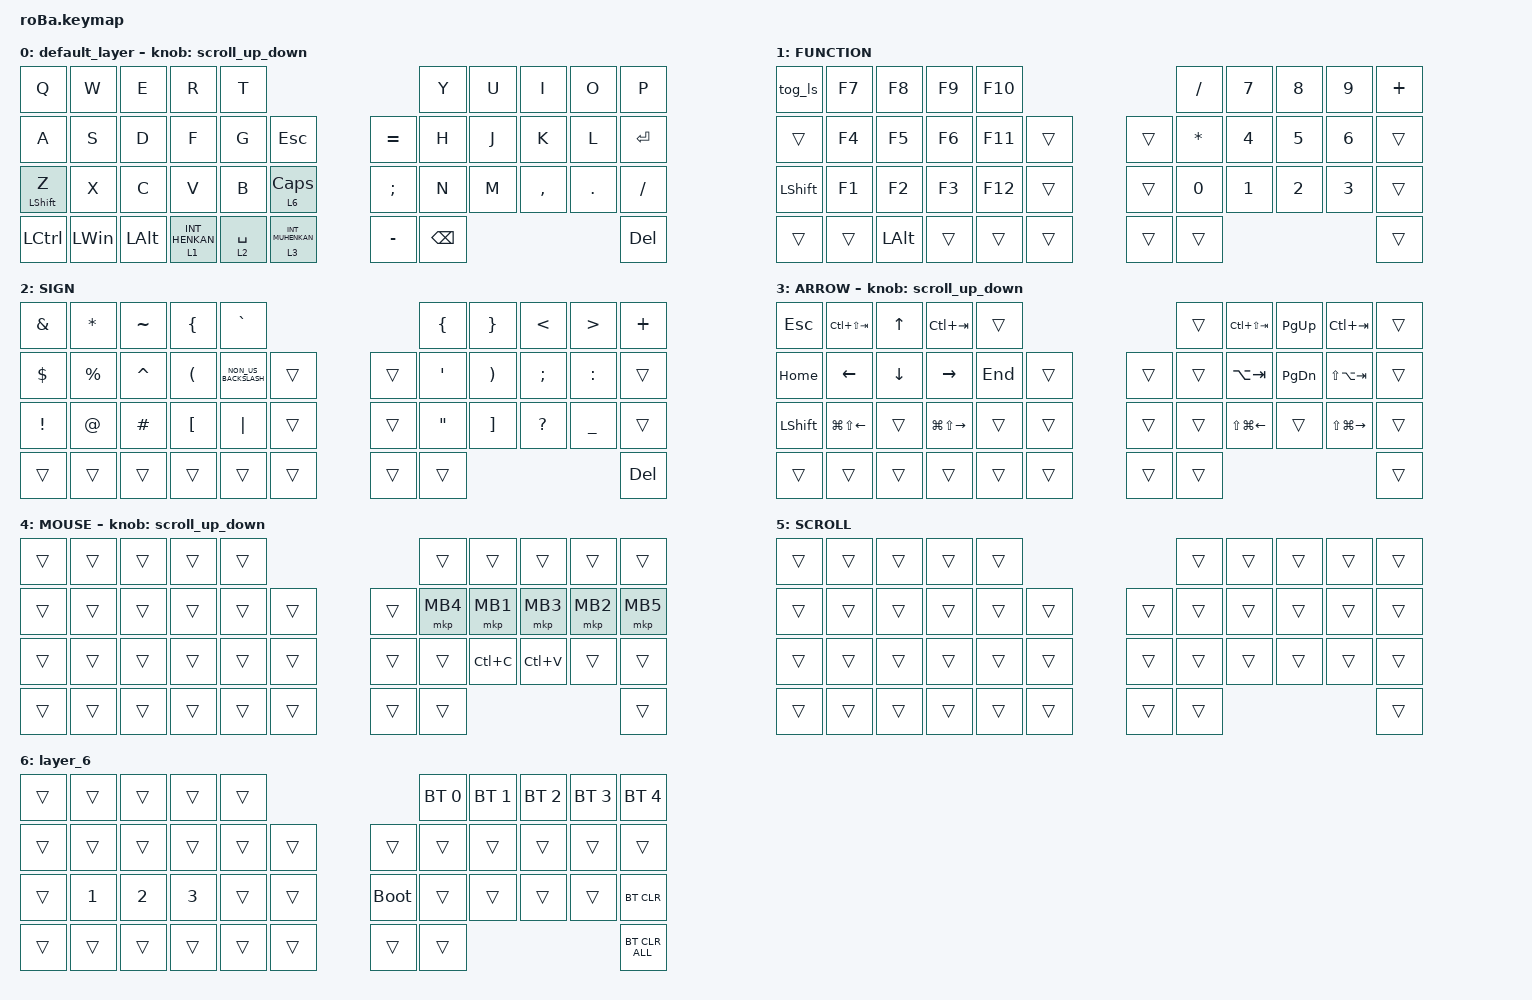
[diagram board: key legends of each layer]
#include <behaviors.dtsi>
#include <dt-bindings/zmk/bt.h>
#include <dt-bindings/zmk/keys.h>
#include <dt-bindings/zmk/pointing.h>
#include <layout_shift.dtsi>
#include <layout_shift_kp_override.dtsi>

#define ZMK_POINTING_DEFAULT_SCRL_VAL 100

&mt {
    flavor = "balanced";
    quick-tap-ms = <0>;
};

&trackball {
    automouse-layer = <4>;
    scroll-layers = <5>;

    arrows {
        layers = <3>;
        bindings =
            <&kp RIGHT_ARROW>,
            <&kp LEFT_ARROW>,
            <&kp UP_ARROW>,
            <&kp DOWN_ARROW>;

        tick = <10>;
        wait-ms = <5>;
        tap-ms = <5>;
    };
};

/ {
    combos {
        compatible = "zmk,combos";

        S_tab {
            bindings = <&kp LS(TAB)>;
            key-positions = <11 12>;
        };

        tab {
            bindings = <&kp TAB>;
            key-positions = <12 13>;
        };

        muhennkann {
            bindings = <&to_layer_0 INT_MUHENKAN>;
            key-positions = <11 10>;
        };

        double_quotation {
            bindings = <&kp DOUBLE_QUOTES>;
            key-positions = <20 21>;
        };

        paste {
            bindings = <&kp LC(V)>;
            key-positions = <24 25>;
        };

        copy {
            bindings = <&kp LC(C)>;
            key-positions = <23 24>;
        };

        geave {
            bindings = <&kp GRAVE>;
            key-positions = <37 38>;
        };
    };

    macros {
        to_layer_0: to_layer_0 {
            compatible = "zmk,behavior-macro-one-param";
            #binding-cells = <1>;
            bindings = <&to 0 &macro_param_1to1 &kp MACRO_PLACEHOLDER>;
            label = "TO_LAYER_0";
        };
    };

    behaviors {
        lt_to_layer_0: lt_to_layer_0 {
            compatible = "zmk,behavior-hold-tap";
            label = "LAYER_TAP_TO_0";
            bindings = <&mo>, <&to_layer_0>;

            #binding-cells = <2>;
            tapping-term-ms = <200>;
        };

        scroll_up_down: behavior_sensor_rotate_mouse_wheel_up_down {
            compatible = "zmk,behavior-sensor-rotate";
            #sensor-binding-cells = <0>;
            bindings = <&msc SCRL_DOWN>, <&msc SCRL_UP>;

            // 追加: スクロールのタップ時間を設定 (20ms)

            tap-ms = <20>;
        };
    };

    keymap {
        compatible = "zmk,keymap";

        default_layer {
            bindings = <
&kp Q         &kp W         &kp E         &kp R                        &kp T                                                                     &kp Y          &kp U  &kp I      &kp O    &kp P
&kp A         &kp S         &kp D         &kp F                        &kp G                   &kp ESCAPE                         &kp EQUAL      &kp H          &kp J  &kp K      &kp L    &kp ENTER
&mt LSHIFT Z  &kp X         &kp C         &kp V                        &kp B                   &lt_to_layer_0 6 CAPSLOCK          &kp SEMICOLON  &kp N          &kp M  &kp COMMA  &kp DOT  &kp SLASH
&kp LCTRL     &kp LEFT_WIN  &kp LEFT_ALT  &lt_to_layer_0 1 INT_HENKAN  &lt_to_layer_0 2 SPACE  &lt_to_layer_0 3 INT_MUHENKAN      &kp MINUS      &kp BACKSPACE                             &kp DEL
            >;

            sensor-bindings = <&scroll_up_down>;
        };

        FUNCTION {
            bindings = <
&tog_ls         &kp F7  &kp F8        &kp F9  &kp F10                      &kp SLASH     &kp NUMBER_7  &kp NUMBER_8  &kp NUMBER_9  &kp PLUS
&trans          &kp F4  &kp F5        &kp F6  &kp F11  &trans      &trans  &kp ASTERISK  &kp NUMBER_4  &kp NUMBER_5  &kp NUMBER_6  &trans
&kp LEFT_SHIFT  &kp F1  &kp F2        &kp F3  &kp F12  &trans      &trans  &kp N0        &kp NUMBER_1  &kp NUMBER_2  &kp NUMBER_3  &trans
&trans          &trans  &kp LEFT_ALT  &trans  &trans   &trans      &trans  &trans                                                  &trans
            >;
        };

        SIGN {
            bindings = <
&kp AMPERSAND    &kp ASTERISK  &kp TILDE  &kp LEFT_BRACE        &kp GRAVE                                 &kp LEFT_BRACE     &kp RIGHT_BRACE        &kp LESS_THAN  &kp GREATER_THAN  &kp PLUS
&kp DOLLAR       &kp PERCENT   &kp CARET  &kp LEFT_PARENTHESIS  &kp NON_US_BACKSLASH  &trans      &trans  &kp SINGLE_QUOTE   &kp RIGHT_PARENTHESIS  &kp SEMICOLON  &kp COLON         &trans
&kp EXCLAMATION  &kp AT_SIGN   &kp HASH   &kp LEFT_BRACKET      &kp PIPE              &trans      &trans  &kp DOUBLE_QUOTES  &kp RIGHT_BRACKET      &kp QUESTION   &kp UNDERSCORE    &trans
&trans           &trans        &trans     &trans                &trans                &trans      &trans  &trans                                                                     &kp DELETE
            >;
        };

        ARROW {
            bindings = <
&kp ESCAPE      &kp LC(LS(TAB))         &kp UP_ARROW    &kp LC(TAB)              &trans                       &trans  &kp LC(LS(TAB))   &kp PAGE_UP    &kp LC(TAB)              &trans
&kp HOME        &kp LEFT_ARROW          &kp DOWN_ARROW  &kp RIGHT_ARROW          &kp END  &trans      &trans  &trans  &kp LA(TAB)       &kp PAGE_DOWN  &kp LS(LA(TAB))          &trans
&kp LEFT_SHIFT  &kp LG(LS(LEFT_ARROW))  &trans          &kp LG(LS(RIGHT_ARROW))  &trans   &trans      &trans  &trans  &kp LS(LG(LEFT))  &trans         &kp LS(LG(RIGHT_ARROW))  &trans
&trans          &trans                  &trans          &trans                   &trans   &trans      &trans  &trans                                                            &trans
            >;

            sensor-bindings = <&scroll_up_down>;
        };

        MOUSE {
            bindings = <
&trans  &trans  &trans  &trans  &trans                      &trans    &trans     &trans     &trans    &trans
&trans  &trans  &trans  &trans  &trans  &trans      &trans  &mkp MB4  &mkp MB1   &mkp MB3   &mkp MB2  &mkp MB5
&trans  &trans  &trans  &trans  &trans  &trans      &trans  &trans    &kp LC(C)  &kp LC(V)  &trans    &trans
&trans  &trans  &trans  &trans  &trans  &trans      &trans  &trans                                    &trans
            >;

            sensor-bindings = <&scroll_up_down>;
        };

        SCROLL {
            bindings = <
&trans  &trans  &trans  &trans  &trans                      &trans  &trans  &trans  &trans  &trans
&trans  &trans  &trans  &trans  &trans  &trans      &trans  &trans  &trans  &trans  &trans  &trans
&trans  &trans  &trans  &trans  &trans  &trans      &trans  &trans  &trans  &trans  &trans  &trans
&trans  &trans  &trans  &trans  &trans  &trans      &trans  &trans                          &trans
            >;
        };

        layer_6 {
            bindings = <
&trans  &trans        &trans        &trans        &trans                           &bt BT_SEL 0  &bt BT_SEL 1  &bt BT_SEL 2  &bt BT_SEL 3  &bt BT_SEL 4
&trans  &trans        &trans        &trans        &trans  &trans      &trans       &trans        &trans        &trans        &trans        &trans
&trans  &kp NUMBER_1  &kp NUMBER_2  &kp NUMBER_3  &trans  &trans      &bootloader  &trans        &trans        &trans        &trans        &bt BT_CLR
&trans  &trans        &trans        &trans        &trans  &trans      &trans       &trans                                                  &bt BT_CLR_ALL
            >;
        };
    };
};
